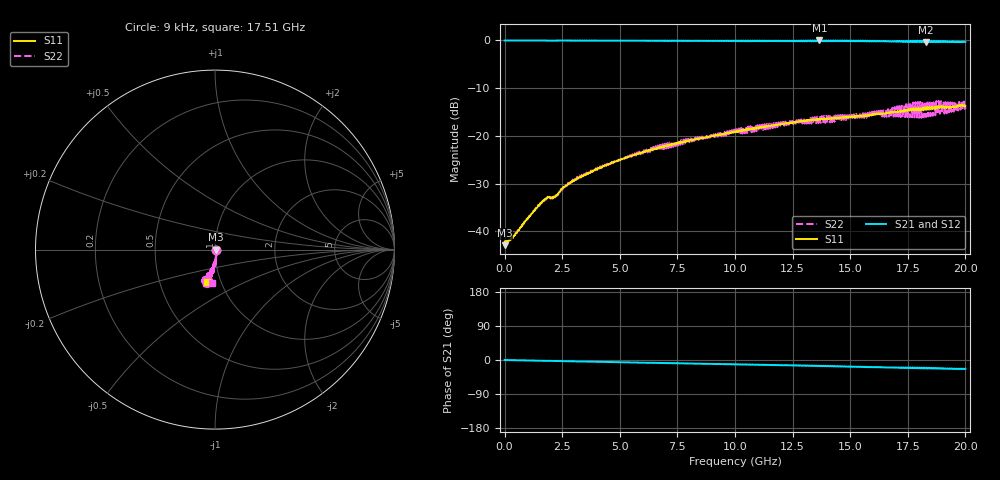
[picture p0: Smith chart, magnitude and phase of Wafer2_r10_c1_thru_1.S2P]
!  2-Port S-parameters saved by WinCal
! VAR NAME=Wafer2_r10_c1_thrutaper
! VAR DATE=26/04/2024 16:50:54
! VAR FILENAME=Wafer2_r10_c1_thrutaper_1.S2P
! VAR MeasName=S-Parameters (CALIBRATED_DATA) read from VNA (P5004A)
! VAR MeasDate=26/04/2024 16:22:32
! VAR PHYS_PORTS=1,2
! VAR ObjTypeName=DATASET
! VAR IndexType=Frequency
# Hz S MA R 50
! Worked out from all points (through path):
!   2000 points, 9 kHz to 20 GHz, reference 50 ohm
!   highest |S21| = -0.07 dB at 13.67 GHz (marker M1); lowest = -0.4 dB at 18.3 GHz (marker M2)
!   group delay of S21, straight-line fit = 3.25 ps
!   lowest |S11| = -42.9 dB at 9 kHz (marker M3), VSWR 1.01, Z = 50.7 - j0.103 ohm
!   |S11| at or under -10 dB: start of sweep to end of sweep
!   |S22| runs from -43.1 to -12.7 dB; largest |S21 - S12| = 0.025
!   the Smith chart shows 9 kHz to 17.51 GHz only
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9000  0.007181 -8.1  0.9917 0.1  0.9917 0.1  0.007023 -7.8
3.501839e8  0.008532 -27.0  0.9917 -0.5  0.9917 -0.5  0.008809 -26.5
9.604888e8  0.01347 -55.1  0.9907 -1.2  0.9908 -1.2  0.01338 -55.0
1.670844e9  0.02104 -70.4  0.9907 -2.0  0.9907 -2.0  0.02112 -71.0
1.860939e9  0.02298 -75.1  0.9889 -2.3  0.989 -2.3  0.02295 -75.7
2.191104e9  0.02313 -75.4  0.9888 -2.6  0.9889 -2.6  0.02275 -75.2
2.541278e9  0.02891 -75.5  0.9895 -2.9  0.9897 -2.9  0.02881 -73.6
2.761388e9  0.03155 -77.3  0.9912 -3.2  0.9916 -3.2  0.03219 -76.3
3.341678e9  0.03786 -81.3  0.9878 -3.8  0.9884 -3.8  0.03871 -80.4
4.952483e9  0.05585 -86.5  0.9872 -5.8  0.9871 -5.8  0.05651 -86.3
6.673343e9  0.07535 -90.8  0.9879 -7.9  0.9866 -8.1  0.07817 -92.8
8.074042e9  0.09044 -93.6  0.9858 -9.4  0.9868 -9.6  0.0941 -93.5
1.000501e10  0.1091 -96.8  0.9765 -11.7  0.9728 -11.5  0.1053 -99.0
1.333667e10  0.147 -101.9  0.9783 -14.6  0.9849 -14.4  0.1425 -97.4
1.366684e10  0.1498 -102.6  0.9922 -15.8  0.9928 -16.3  0.1599 -102.4
1.666834e10  0.174 -104.6  0.9736 -20.0  0.9636 -19.7  0.1657 -108.3
1.763882e10  0.1916 -104.9  0.9816 -21.1  0.9789 -22.4  0.2202 -107.0
1.829915e10  0.1909 -105.6  0.9497 -20.9  0.9622 -19.8  0.1651 -98.4
1.883942e10  0.2035 -106.7  0.9806 -22.4  0.9847 -23.6  0.2321 -106.8
1.91896e10  0.1961 -108.3  0.9556 -22.7  0.9544 -21.8  0.1716 -107.7
1.982992e10  0.2099 -108.4  0.9694 -23.4  0.9737 -24.2  0.2273 -106.8
2e10  0.2054 -109.2  0.9579 -23.2  0.9686 -22.8  0.2006 -104.2
